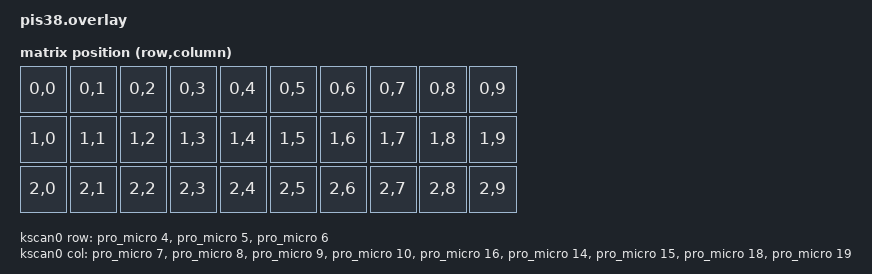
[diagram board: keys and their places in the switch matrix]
#include <dt-bindings/zmk/matrix_transform.h>
#include <physical_layouts.dtsi>

/ {
    chosen {
        zmk,kscan = &kscan0;
        zmk,physical-layout = &physical_layout0;
        zephyr,display = &oled;
    };
    
    kscan0: kscan0 {
        compatible = "zmk,kscan-gpio-matrix";
        diode-direction = "col2row";
        col-gpios
            =  <&pro_micro 7 GPIO_ACTIVE_HIGH>    // col 1 = D7
            , <&pro_micro 8 GPIO_ACTIVE_HIGH>    // col 2 = D8
            , <&pro_micro 9 GPIO_ACTIVE_HIGH>    // col 3 = D9
            , <&pro_micro 10 GPIO_ACTIVE_HIGH>   // col 4 = D10
            , <&pro_micro 16 GPIO_ACTIVE_HIGH>   // col 5 = D16
            , <&pro_micro 14 GPIO_ACTIVE_HIGH>   // col 6 = D14
            , <&pro_micro 15 GPIO_ACTIVE_HIGH>   // col 7 = D15
            , <&pro_micro 18 GPIO_ACTIVE_HIGH>   // col 8 = D18
            , <&pro_micro 19 GPIO_ACTIVE_HIGH>;  // col 9 = D19
            , <&pro_micro 20 GPIO_ACTIVE_HIGH>;  // col 9 = D19
        row-gpios
            = <&pro_micro 4 (GPIO_ACTIVE_HIGH | GPIO_PULL_DOWN)>  // row 0 = D20
            , <&pro_micro 5 (GPIO_ACTIVE_HIGH | GPIO_PULL_DOWN)>  // row 1 = D4
            , <&pro_micro 6 (GPIO_ACTIVE_HIGH | GPIO_PULL_DOWN)>;  // row 2 = D5
    };

    default_transform: keymap_transform0 {
        compatible = "zmk,matrix-transform";
        columns = <10>;
        rows = <3>;
        map = <RC(0,0) RC(0,1) RC(0,2) RC(0,3) RC(0,4) RC(0,5) RC(0,6) RC(0,7) RC(0,8) RC(0,9)
               RC(1,0) RC(1,1) RC(1,2) RC(1,3) RC(1,4) RC(1,5) RC(1,6) RC(1,7) RC(1,8) RC(1,9)
               RC(2,0) RC(2,1) RC(2,2) RC(2,3) RC(2,4) RC(2,5) RC(2,6) RC(2,7) RC(2,8) RC(2,9)>;
    };

    physical_layout0: physical_layout_0 {
        compatible = "zmk,physical-layout";
        display-name = "Default Layout";
        transform = <&default_transform>;
        keys
            = <&key_physical_attrs 100 100    0   0 0 0 0>
            , <&key_physical_attrs 100 100  100   0 0 0 0>
            , <&key_physical_attrs 100 100  200   0 0 0 0>
            , <&key_physical_attrs 100 100  300   0 0 0 0>
            , <&key_physical_attrs 100 100  400   0 0 0 0>
            , <&key_physical_attrs 100 100  500   0 0 0 0>
            , <&key_physical_attrs 100 100  600   0 0 0 0>
            , <&key_physical_attrs 100 100  700   0 0 0 0>
            , <&key_physical_attrs 100 100  800   0 0 0 0>
            , <&key_physical_attrs 100 100  900   0 0 0 0>
            , <&key_physical_attrs 100 100    0 100 0 0 0>
            , <&key_physical_attrs 100 100  100 100 0 0 0>
            , <&key_physical_attrs 100 100  200 100 0 0 0>
            , <&key_physical_attrs 100 100  300 100 0 0 0>
            , <&key_physical_attrs 100 100  400 100 0 0 0>
            , <&key_physical_attrs 100 100  500 100 0 0 0>
            , <&key_physical_attrs 100 100  600 100 0 0 0>
            , <&key_physical_attrs 100 100  700 100 0 0 0>
            , <&key_physical_attrs 100 100  800 100 0 0 0>
            , <&key_physical_attrs 100 100  900 100 0 0 0>
            , <&key_physical_attrs 100 100    0 200 0 0 0>
            , <&key_physical_attrs 100 100  100 200 0 0 0>
            , <&key_physical_attrs 100 100  200 200 0 0 0>
            , <&key_physical_attrs 100 100  300 200 0 0 0>
            , <&key_physical_attrs 100 100  400 200 0 0 0>
            , <&key_physical_attrs 100 100  500 200 0 0 0>
            , <&key_physical_attrs 100 100  600 200 0 0 0>
            , <&key_physical_attrs 100 100  700 200 0 0 0>
            , <&key_physical_attrs 100 100  800 200 0 0 0>
            , <&key_physical_attrs 100 100  900 200 0 0 0>
;
    };
};

&pro_micro_i2c {
    status = "okay";

    oled: ssd1306@3c {
        compatible = "solomon,ssd1306fb";
        reg = <0x3d>;
        width = <128>;
        height = <32>;
        segment-offset = <0>;
        page-offset = <0>;
        display-offset = <0>;
        multiplex-ratio = <31>;
        segment-remap;
        com-invdir;
        prechargep = <0x22>;
    };
};
